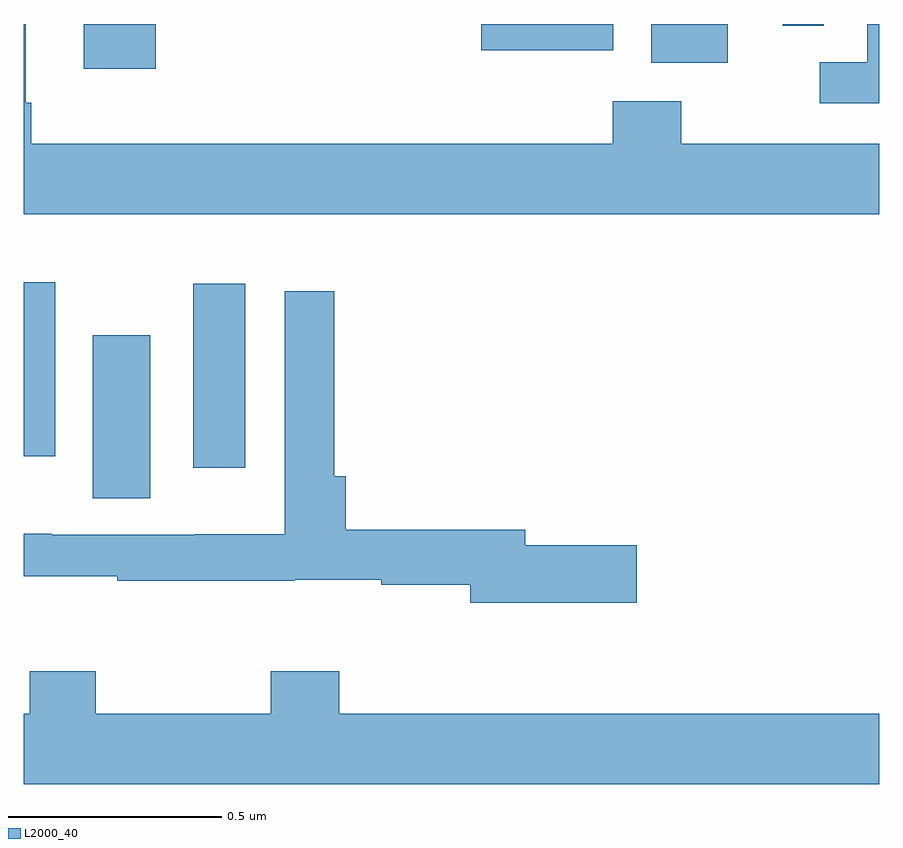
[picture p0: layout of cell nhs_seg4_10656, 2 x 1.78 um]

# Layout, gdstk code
import gdstk
lib = gdstk.Library(unit=1e-6, precision=1e-09)
def R(c, l, rs):  # rectangles x0, y0, x1, y1
    for r in rs: c.add(gdstk.rectangle(r[:2], r[2:], *l))
def P(c, l, *ps):  # polygons
    for p in ps: c.add(gdstk.Polygon(p, *l))
L2000_40 = (2000, 40)

nhs_seg4_10656 = lib.new_cell('nhs_seg4_10656')
R(nhs_seg4_10656, L2000_40, [(242.162,826.792,242.296,827.173), (242.396,826.863,242.518,827.293), (242,826.89,242.074,827.296), (242.141,827.796,242.309,827.9), (243.467,827.81,243.646,827.9), (243.069,827.839,243.378,827.9), (243.774,827.896,243.87,827.9)])
P(nhs_seg4_10656, L2000_40, [(242.005,827.716),(242.005,827.9),(242,827.9),(242,827.456),(244,827.456),(244,827.62),(243.537,827.62),(243.537,827.719),(243.377,827.719),(243.377,827.62),(242.018,827.62),(242.018,827.716)],
  [(244,827.9),(243.971,827.9),(243.971,827.811),(243.861,827.811),(243.861,827.715),(244,827.715)],
  [(243.433,826.682),(243.172,826.682),(243.172,826.718),(242.753,826.718),(242.753,826.843),(242.726,826.843),(242.726,827.275),(242.61,827.275),(242.61,826.708),(242.4,826.708),(242.4,826.707),(242.066,826.707),(242.066,826.709),(242,826.709),(242,826.609),(242.219,826.609),(242.219,826.599),(242.634,826.599),(242.634,826.601),(242.836,826.601),(242.836,826.59),(243.044,826.59),(243.044,826.547),(243.433,826.547)],
  [(244,826.288),(242.738,826.288),(242.738,826.387),(242.578,826.387),(242.578,826.288),(242.169,826.288),(242.169,826.387),(242.014,826.387),(242.014,826.288),(242,826.288),(242,826.124),(244,826.124)])

lib.write_gds('nhs_seg4_10656.gds')
